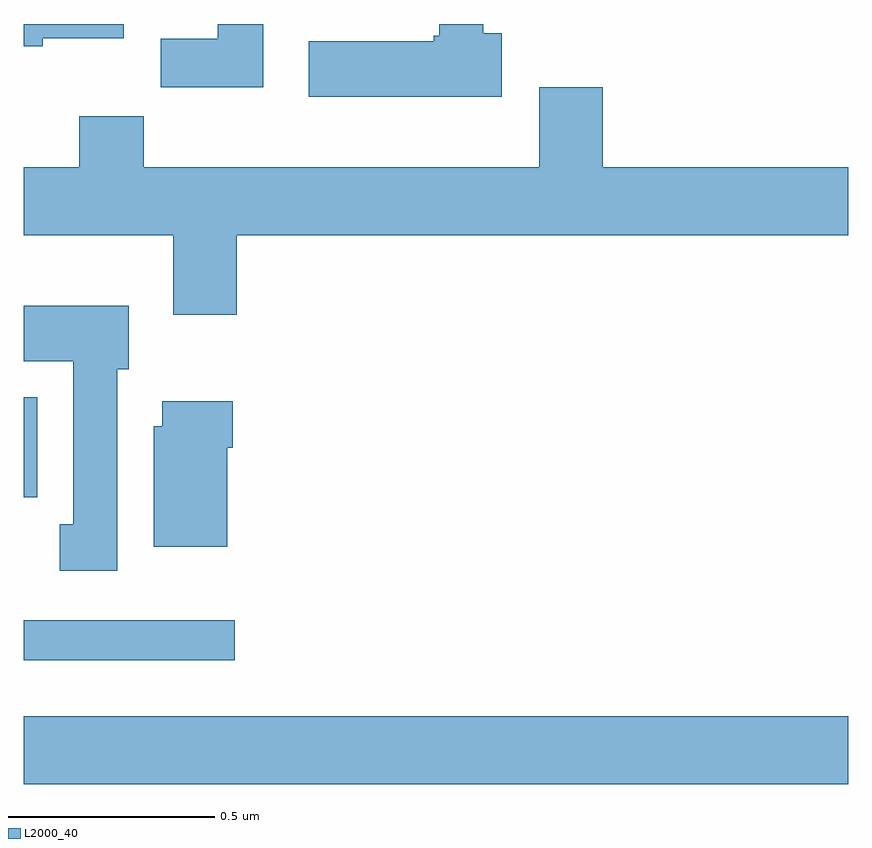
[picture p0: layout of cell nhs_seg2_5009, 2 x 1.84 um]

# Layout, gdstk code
import gdstk
lib = gdstk.Library(unit=1e-6, precision=1e-09)
def R(c, l, rs):  # rectangles x0, y0, x1, y1
    for r in rs: c.add(gdstk.rectangle(r[:2], r[2:], *l))
def P(c, l, *ps):  # polygons
    for p in ps: c.add(gdstk.Polygon(p, *l))
L2000_40 = (2000, 40)

nhs_seg2_5009 = lib.new_cell('nhs_seg2_5009')
R(nhs_seg2_5009, L2000_40, [(173,660.956,175,661.12), (173,661.256,173.512,661.353), (173,661.652,173.032,661.894)])
P(nhs_seg2_5009, L2000_40, [(173.581,662.8),(173.471,662.8),(173.471,662.764),(173.332,662.764),(173.332,662.646),(173.581,662.646)],
  [(173.046,662.765),(173.242,662.765),(173.242,662.8),(173,662.8),(173,662.746),(173.046,662.746)],
  [(174.16,662.778),(174.115,662.778),(174.115,662.8),(174.008,662.8),(174.008,662.772),(173.995,662.772),(173.995,662.758),(173.691,662.758),(173.691,662.624),(174.16,662.624)],
  [(173.516,662.288),(175,662.288),(175,662.452),(174.404,662.452),(174.404,662.647),(174.251,662.647),(174.251,662.452),(173.291,662.452),(173.291,662.576),(173.135,662.576),(173.135,662.452),(173,662.452),(173,662.288),(173.363,662.288),(173.363,662.094),(173.516,662.094)],
  [(173.227,661.962),(173.254,661.962),(173.254,662.116),(173,662.116),(173,661.982),(173.12,661.982),(173.12,661.586),(173.087,661.586),(173.087,661.473),(173.227,661.473)],
  [(173.494,661.772),(173.507,661.772),(173.507,661.885),(173.336,661.885),(173.336,661.824),(173.315,661.824),(173.315,661.532),(173.494,661.532)])

lib.write_gds('nhs_seg2_5009.gds')
